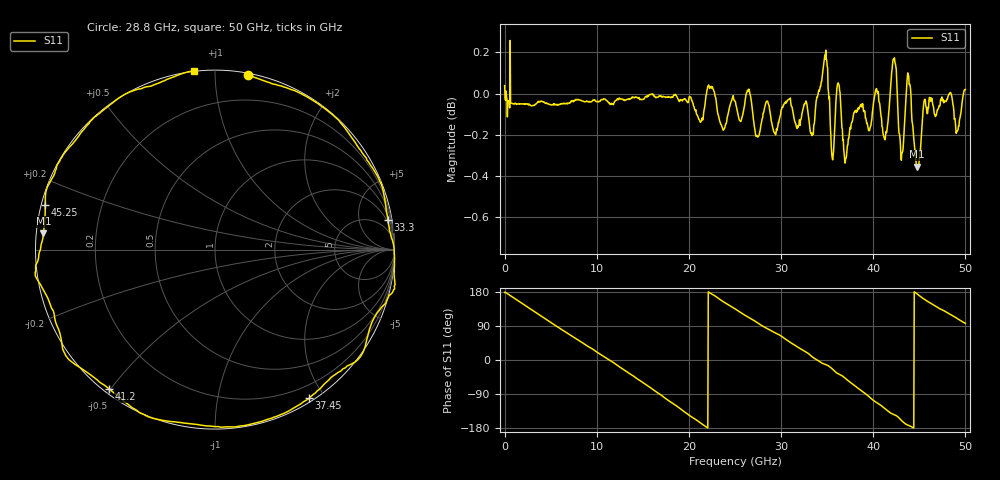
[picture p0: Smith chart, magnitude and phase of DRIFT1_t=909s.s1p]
!Created with skrf (http://scikit-rf.org).
# Hz S RI R 50.0
!freq ReS11 ImS11
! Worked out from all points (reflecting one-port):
!   1001 points, 300 kHz to 50 GHz, reference 50 ohm
!   lowest |S11| = -0.4 dB at 44.75 GHz (marker M1), VSWR 48.90, Z = 1.02 + j2.35 ohm
!   phase of S11 starts at 178 deg and turns -801 deg over the sweep
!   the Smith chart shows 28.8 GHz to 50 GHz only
!   S11 on the Smith chart (normalised r, x): 28.8 GHz: 0.01, +1.21; 33.3 GHz: 2, +11; 37.45 GHz: 0.04, -1.81; 41.2 GHz: 0.02, -0.50; 45.25 GHz: 0.01, +0.13; 50 GHz: -0.00, +0.89
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300000  -1.004 0.0337
1.75029e9  -0.8739 0.474
3.600278e9  -0.5202 0.8484
6.250262e9  0.1786 0.9783
7.950252e9  0.5958 0.7991
9.800241e9  0.9091 0.4077
1.250022e10  0.9447 -0.3187
1.400022e10  0.7337 -0.6763
1.59002e10  0.2677 -0.9632
1.875019e10  -0.5408 -0.8383
2.025018e10  -0.8598 -0.5049
2.200017e10  -1.002 -0.0268
2.500015e10  -0.7053 0.7028
2.660014e10  -0.3597 0.9335
2.880013e10  0.1863 0.9721
3.125011e10  0.7296 0.6701
3.33001e10  0.9631 0.1671
3.500009e10  0.9863 -0.2425
3.745008e10  0.5232 -0.8288
3.750008e10  0.509 -0.839
3.915007e10  0.0182 -0.9862
4.120005e10  -0.5883 -0.7782
4.245005e10  -0.8448 -0.5626
4.375004e10  -1.001 -0.1459
4.475003e10  -0.9557 0.0901
4.525003e10  -0.9461 0.2504
4.725002e10  -0.702 0.7028
5e10  -0.1152 0.9956
